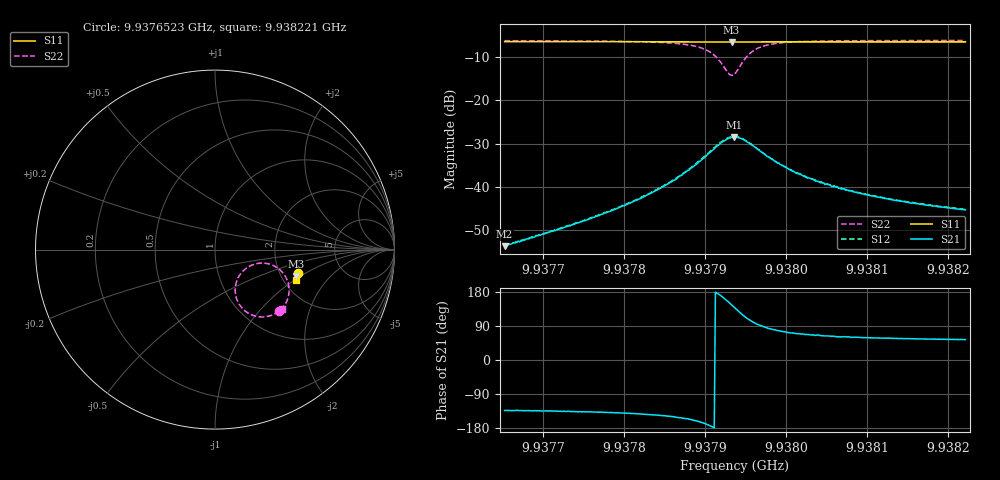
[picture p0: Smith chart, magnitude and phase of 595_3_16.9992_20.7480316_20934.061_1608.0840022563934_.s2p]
#  HZ  S  RI  R  50.00
! Rohde & Schwarz Vector Network Analyzer
! Rohde-Schwarz,ZNB20-2Port,1311601062101988,3.16
! Created: UTC 3/20/2024, 11:18:48 PM
! freq[Hz]  re:S11  im:S11  re:S21  im:S21  re:S12  im:S12  re:S22  im:S22
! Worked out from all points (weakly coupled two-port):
!   401 points, 9.9376523 GHz to 9.938221 GHz, reference 50 ohm
!   highest |S21| = -28.52 dB at 9.9379352 GHz (marker M1); lowest = -53.8 dB at 9.9376523 GHz (marker M2)
!   lowest |S11| = -6.4 dB at 9.9379324 GHz (marker M3), VSWR 2.82, Z = 120 - j46 ohm
!   |S11| at or under -10 dB: nowhere
!   |S22| runs from -14.2 to -6.1 dB; largest |S21 - S12| = 0.0017
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9.9376523e9  0.4639 -0.1315  -0.0014 -0.00148  -0.00145 -0.00153  0.357 -0.3424
9.93774755e9  0.4615 -0.1379  -0.00287 -0.00268  -0.00291 -0.00268  0.3393 -0.3547
9.937803e9  0.4598 -0.1418  -0.00477 -0.00393  -0.00496 -0.00394  0.3192 -0.3643
9.93784281e9  0.4586 -0.1445  -0.00778 -0.00526  -0.00801 -0.00526  0.2917 -0.3725
9.93787408e9  0.4572 -0.1467  -0.0129 -0.00638  -0.0132 -0.00622  0.2481 -0.3744
9.93789967e9  0.4555 -0.1485  -0.0215 -0.00467  -0.0222 -0.00419  0.1779 -0.3494
9.93791105e9  0.4545 -0.1488  -0.0276 -0.00035  -0.0284 0.000332  0.1364 -0.3065
9.93791958e9  0.4536 -0.1487  -0.0317 0.00611  -0.0323 0.00724  0.1143 -0.2479
9.93792811e9  0.453 -0.1483  -0.0325 0.0158  -0.0327 0.0173  0.1232 -0.1694
9.93793237e9  0.453 -0.1477  -0.0307 0.0211  -0.0306 0.0226  0.1457 -0.1309
9.93793521e9  0.4531 -0.1475  -0.0287 0.0242  -0.0284 0.0257  0.1671 -0.1093
9.93793664e9  0.4532 -0.1475  -0.0273 0.0256  -0.027 0.027  0.1792 -0.1002
9.93794374e9  0.4538 -0.1472  -0.0198 0.0304  -0.019 0.0316  0.2473 -0.0759
9.93795227e9  0.4547 -0.1473  -0.0106 0.031  -0.00975 0.0317  0.3201 -0.0863
9.93795938e9  0.4551 -0.1479  -0.00481 0.0292  -0.00418 0.0295  0.3611 -0.1118
9.93796791e9  0.4556 -0.1489  -0.0005 0.0258  0.000342 0.026  0.3899 -0.1453
9.93798355e9  0.4557 -0.1504  0.00348 0.0202  0.00399 0.02  0.4102 -0.196
9.93800488e9  0.4555 -0.1522  0.00497 0.0148  0.00518 0.0149  0.4122 -0.2395
9.93803189e9  0.4549 -0.1544  0.00491 0.0112  0.00521 0.0111  0.4063 -0.2702
9.93806743e9  0.454 -0.157  0.00462 0.00821  0.00485 0.00838  0.3974 -0.2927
9.93812714e9  0.4523 -0.1611  0.00383 0.00604  0.00401 0.00603  0.3857 -0.3126
9.93822097e9  0.4497 -0.1673  0.00316 0.00435  0.00331 0.00437  0.373 -0.3292
